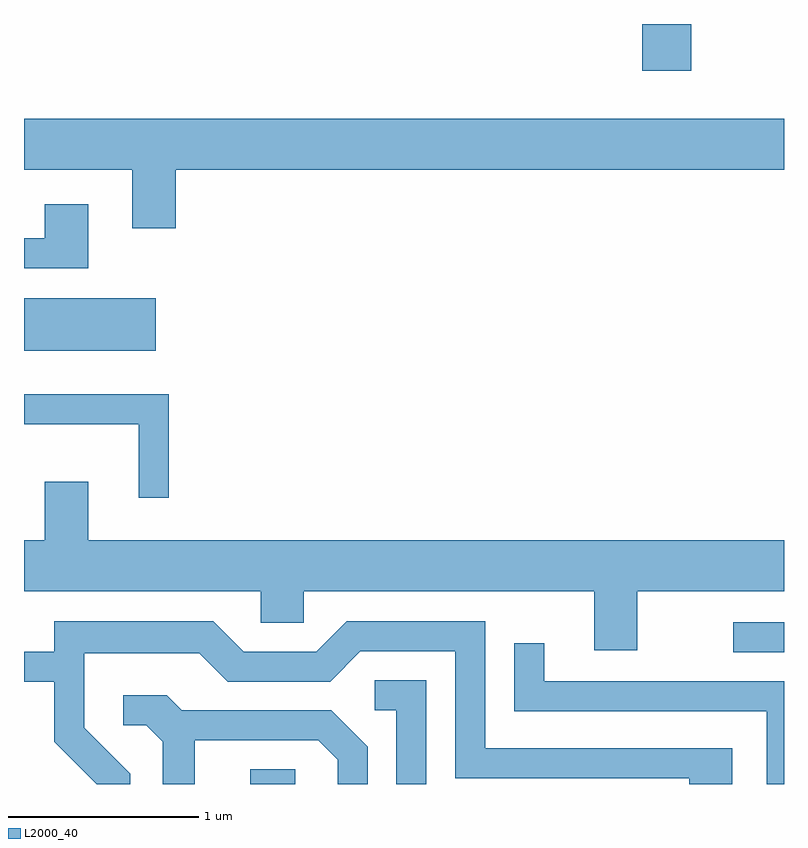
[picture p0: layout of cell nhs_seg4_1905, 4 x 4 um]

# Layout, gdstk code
import gdstk
lib = gdstk.Library(unit=1e-6, precision=1e-09)
def R(c, l, rs):  # rectangles x0, y0, x1, y1
    for r in rs: c.add(gdstk.rectangle(r[:2], r[2:], *l))
def P(c, l, *ps):  # polygons
    for p in ps: c.add(gdstk.Polygon(p, *l))
L2000_40 = (2000, 40)

nhs_seg4_1905 = lib.new_cell('nhs_seg4_1905')
R(nhs_seg4_1905, L2000_40, [(242.801,1255.982,243.039,1256.059), (245.343,1256.676,245.611,1256.834), (241.611,1258.261,242.304,1258.539), (244.866,1259.736,245.124,1259.982)])
P(nhs_seg4_1905, L2000_40, [(242.409,1259.216),(245.611,1259.216),(245.611,1259.484),(241.611,1259.484),(241.611,1259.216),(242.181,1259.216),(242.181,1258.906),(242.409,1258.906)],
  [(241.949,1259.034),(241.721,1259.034),(241.721,1258.854),(241.611,1258.854),(241.611,1258.696),(241.949,1258.696)],
  [(242.374,1258.034),(241.611,1258.034),(241.611,1257.876),(242.216,1257.876),(242.216,1257.488),(242.374,1257.488)],
  [(244.839,1256.996),(245.611,1256.996),(245.611,1257.264),(241.949,1257.264),(241.949,1257.574),(241.721,1257.574),(241.721,1257.264),(241.611,1257.264),(241.611,1256.996),(242.856,1256.996),(242.856,1256.831),(243.084,1256.831),(243.084,1256.996),(244.611,1256.996),(244.611,1256.686),(244.839,1256.686)],
  [(242.169,1256.037),(241.929,1256.277),(241.929,1256.671),(242.534,1256.671),(242.684,1256.521),(243.222,1256.521),(243.382,1256.681),(243.881,1256.681),(243.881,1256.011),(245.111,1256.011),(245.111,1255.982),(245.339,1255.982),(245.339,1256.169),(244.039,1256.169),(244.039,1256.839),(243.309,1256.839),(243.149,1256.679),(242.767,1256.679),(242.607,1256.839),(241.771,1256.839),(241.771,1256.679),(241.611,1256.679),(241.611,1256.521),(241.771,1256.521),(241.771,1256.204),(241.993,1255.982),(242.169,1255.982)],
  [(245.611,1256.524),(244.349,1256.524),(244.349,1256.723),(244.191,1256.723),(244.191,1256.366),(245.521,1256.366),(245.521,1255.982),(245.611,1255.982)],
  [(243.729,1256.529),(243.458,1256.529),(243.458,1256.371),(243.571,1256.371),(243.571,1255.982),(243.729,1255.982)],
  [(242.509,1256.211),(243.159,1256.211),(243.261,1256.109),(243.261,1255.982),(243.419,1255.982),(243.419,1256.177),(243.227,1256.369),(242.442,1256.369),(242.362,1256.449),(242.133,1256.449),(242.133,1256.291),(242.254,1256.291),(242.341,1256.204),(242.341,1255.982),(242.509,1255.982)])

lib.write_gds('nhs_seg4_1905.gds')
